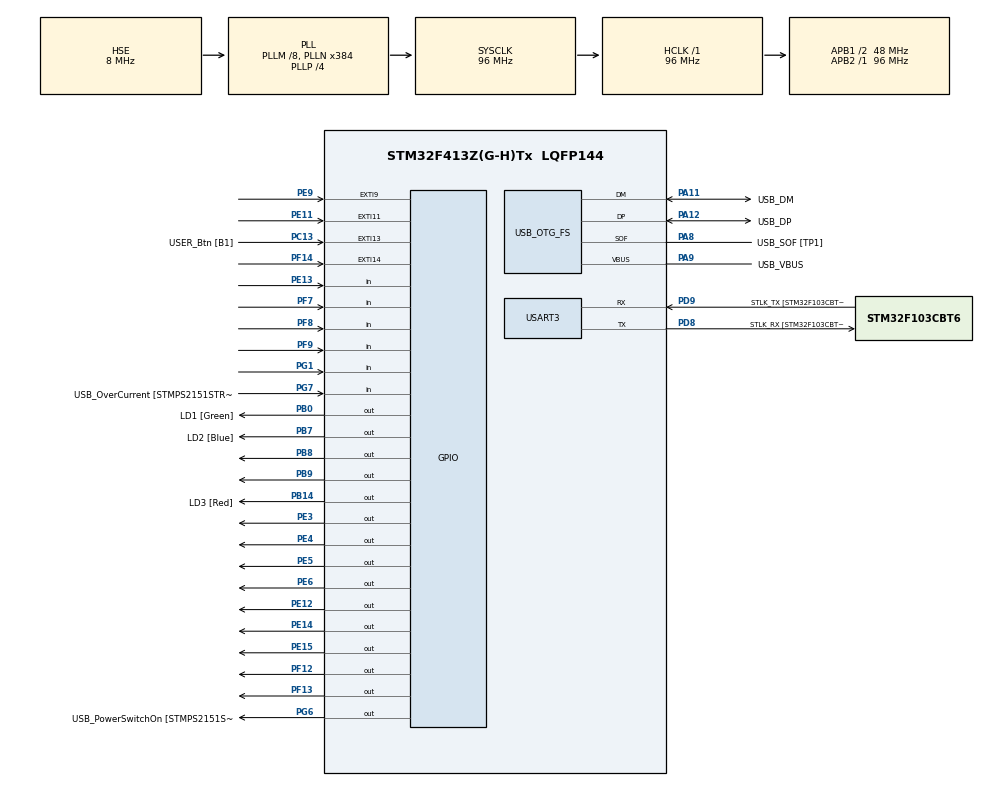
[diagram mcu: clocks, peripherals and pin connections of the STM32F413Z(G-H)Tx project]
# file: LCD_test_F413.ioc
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Mcu.Family=STM32F4
Mcu.Name=STM32F413Z(G-H)Tx
Mcu.Package=LQFP144
NVIC.EXTI15_10_IRQn=true\:0\:0\:false\:false\:true\:true\:true\:true
NVIC.EXTI9_5_IRQn=true\:0\:0\:false\:false\:true\:true\:true\:true
NVIC.PVD_IRQn=true\:0\:0\:false\:false\:true\:true\:true\:true
NVIC.PriorityGroup=NVIC_PRIORITYGROUP_4
PA10.GPIO_Label=USB_ID
PA10.Signal=USB_OTG_FS_ID
PA11.GPIO_Label=USB_DM
PA11.Mode=Device_Only
PA11.Signal=USB_OTG_FS_DM
PA12.GPIO_Label=USB_DP
PA12.Mode=Device_Only
PA12.Signal=USB_OTG_FS_DP
PA13.GPIO_Label=TMS
PA13.Mode=Serial_Wire
PA13.Signal=SYS_JTMS-SWDIO
PA14.GPIO_Label=TCK
PA14.Mode=Serial_Wire
PA14.Signal=SYS_JTCK-SWCLK
PA8.GPIO_Label=USB_SOF [TP1]
PA8.Mode=Activate_SOF_FS
PA8.Signal=USB_OTG_FS_SOF
PA9.GPIO_Label=USB_VBUS
PA9.Mode=Activate_VBUS
PA9.Signal=USB_OTG_FS_VBUS
PB0.GPIO_Label=LD1 [Green]
PB0.Signal=GPIO_Output
PB14.GPIO_Label=LD3 [Red]
PB14.Signal=GPIO_Output
PB3.GPIO_Label=SWO
PB3.Signal=SYS_JTDO-SWO
PB7.GPIO_Label=LD2 [Blue]
PB7.Signal=GPIO_Output
PB8.Signal=GPIO_Output
PB9.Signal=GPIO_Output
PC13.GPIO_Label=USER_Btn [B1]
PC13.Signal=GPXTI13
PC14-OSC32_IN.Mode=LSE-External-Oscillator
PC14-OSC32_IN.Signal=RCC_OSC32_IN
PC15-OSC32_OUT.Mode=LSE-External-Oscillator
PC15-OSC32_OUT.Signal=RCC_OSC32_OUT
PD8.GPIO_Label=STLK_RX [STM32F103CBT6_PA3]
PD8.Mode=Asynchronous
PD8.Signal=USART3_TX
PD9.GPIO_Label=STLK_TX [STM32F103CBT6_PA2]
PD9.Mode=Asynchronous
PD9.Signal=USART3_RX
PE11.Signal=GPXTI11
PE12.Signal=GPIO_Output
PE13.Signal=GPIO_Input
PE14.Signal=GPIO_Output
PE15.Signal=GPIO_Output
PE3.Signal=GPIO_Output
PE4.Signal=GPIO_Output
PE5.Signal=GPIO_Output
PE6.Signal=GPIO_Output
PE9.Signal=GPXTI9
PF12.Signal=GPIO_Output
PF13.Signal=GPIO_Output
PF14.Signal=GPXTI14
PF7.GPIO_PuPd=GPIO_PULLUP
PF7.Signal=GPIO_Input
PF8.GPIO_PuPd=GPIO_PULLUP
PF8.Signal=GPIO_Input
PF9.GPIO_PuPd=GPIO_PULLUP
PF9.Signal=GPIO_Input
PG1.GPIO_PuPd=GPIO_PULLUP
PG1.Signal=GPIO_Input
PG6.GPIO_Label=USB_PowerSwitchOn [STMPS2151STR_EN]
PG6.Signal=GPIO_Output
PG7.GPIO_Label=USB_OverCurrent [STMPS2151STR_FAULT]
PG7.Signal=GPIO_Input
PH0\ -\ OSC_IN.GPIO_Label=MCO
PH0\ -\ OSC_IN.Mode=HSE-External-Clock-Source
PH0\ -\ OSC_IN.Signal=RCC_OSC_IN
PH1\ -\ OSC_OUT.Mode=HSE-External-Clock-Source
PH1\ -\ OSC_OUT.Signal=RCC_OSC_OUT
ProjectManager.HeapSize=0x200
ProjectManager.StackSize=0x400
ProjectManager.TargetToolchain=STM32CubeIDE
RCC.48MHZClocksFreq_Value=24000000
RCC.AHBFreq_Value=96000000
RCC.APB1CLKDivider=RCC_HCLK_DIV2
RCC.APB1Freq_Value=48000000
RCC.APB1TimFreq_Value=96000000
RCC.APB2Freq_Value=96000000
RCC.APB2TimFreq_Value=96000000
RCC.CortexFreq_Value=96000000
RCC.HCLKFreq_Value=96000000
RCC.HSE_VALUE=8000000
RCC.HSI_VALUE=16000000
RCC.PLLM=8
RCC.PLLMUL=RCC_PLL_MUL9
RCC.PLLN=384
RCC.PLLP=RCC_PLLP_DIV4
RCC.PLLQ=8
RCC.PRESCALERUSB=RCC_USBCLKSOURCE_PLL_DIV1_5
RCC.SYSCLKFreq_VALUE=96000000
RCC.SYSCLKSource=RCC_SYSCLKSOURCE_PLLCLK
RCC.SYSCLKSourceVirtual=RCC_SYSCLKSOURCE_PLLCLK
RCC.USBFreq_Value=48000000
RCC.VCOOutputFreq_Value=384000000
USART3.VirtualMode=VM_ASYNC
USB_OTG_FS.VirtualMode=Device_Only
board=NUCLEO-F413ZH

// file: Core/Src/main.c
/* USER CODE BEGIN Header */
/**
  ******************************************************************************
  * @file           : main.c
  * @brief          : Main program body
  ******************************************************************************
  * @attention
  *
  * Copyright (c) 2024 STMicroelectronics.
  * All rights reserved.
  *
  * This software is licensed under terms that can be found in the LICENSE file
  * in the root directory of this software component.
  * If no LICENSE file comes with this software, it is provided AS-IS.
  *
  ******************************************************************************
  */
/* USER CODE END Header */
#include "main.h"

/* USER CODE BEGIN Includes */
#include "u8g2.h"
#include "application.h"
/* USER CODE END Includes */

/* USER CODE BEGIN PD */

#define SCK_GPIO_Port 		GPIOE
#define SCK_Pin 			GPIO_PIN_12

#define MOSI_GPIO_Port 		GPIOE
#define MOSI_Pin 			GPIO_PIN_14

#define LCD_CS_GPIO_Port 	GPIOF
#define LCD_CS_Pin 			GPIO_PIN_12

#define LCD_RESET_GPIO_Port GPIOE
#define LCD_RESET_Pin 		GPIO_PIN_15

#define CD_LCD_PORT 		GPIOF
#define CD_LCD_PIN 			GPIO_PIN_13

#define I2C_SCL_PORT 		GPIOB
#define I2C_SCL_PIN 		GPIO_PIN_8

#define I2C_SDA_PORT 		GPIOB
#define I2C_SDA_PIN 		GPIO_PIN_9

/* USER CODE END PD */

UART_HandleTypeDef huart3;

PCD_HandleTypeDef hpcd_USB_OTG_FS;

void SystemClock_Config(void);
static void MX_GPIO_Init(void);
static void MX_USART3_UART_Init(void);
static void MX_USB_OTG_FS_PCD_Init(void);

/* USER CODE BEGIN 0 */
uint8_t gpio_and_delay_cb(u8x8_t *u8x8, uint8_t msg, uint8_t arg_int, void *arg_ptr)
{
	switch(msg){
			//Initialize SPI peripheral
			case U8X8_MSG_GPIO_AND_DELAY_INIT:
				/* HAL initialization contains all what we need so we can skip this part. */

			break;

			case U8X8_MSG_DELAY_I2C:
				//for (uint16_t n = 0; n < 90; n++)
				//for (uint16_t n = 0; n < 2; n++)
				//{
					__NOP();
				//}

				break;
			case U8X8_MSG_GPIO_I2C_CLOCK:
				if (arg_int) HAL_GPIO_WritePin(I2C_SCL_PORT, I2C_SCL_PIN, SET);
					else HAL_GPIO_WritePin(I2C_SCL_PORT, I2C_SCL_PIN, RESET);
				break;
			case U8X8_MSG_GPIO_I2C_DATA:
				if (arg_int) HAL_GPIO_WritePin(I2C_SDA_PORT, I2C_SDA_PIN, SET);
					else HAL_GPIO_WritePin(I2C_SDA_PORT, I2C_SDA_PIN, RESET);
				break;
			//Function which implements a delay, arg_int contains the amount of ms
			case U8X8_MSG_DELAY_MILLI:
			HAL_Delay(arg_int);

			break;
			//Function which delays 10us
			case U8X8_MSG_DELAY_10MICRO:
			for (uint16_t n = 0; n < 90; n++)
			{
				__NOP();
			}
			break;
			//Function which delays 1ns
			case U8X8_MSG_DELAY_NANO:

			break;
			//Function which delays 100ns
			case U8X8_MSG_DELAY_100NANO:
			__NOP();

			break;
			//Function to define the logic level of the clockline
			case U8X8_MSG_GPIO_SPI_CLOCK:
				if (arg_int) HAL_GPIO_WritePin(SCK_GPIO_Port, SCK_Pin, RESET);
				else HAL_GPIO_WritePin(SCK_GPIO_Port, SCK_Pin, SET);

			break;
			//Function to define the logic level of the data line to the display
			case U8X8_MSG_GPIO_SPI_DATA:
				if (arg_int) HAL_GPIO_WritePin(MOSI_GPIO_Port, MOSI_Pin, SET);
				else HAL_GPIO_WritePin(MOSI_GPIO_Port, MOSI_Pin, RESET);

			break;
			// Function to define the logic level of the CS line
			case U8X8_MSG_GPIO_CS:
				if (arg_int) HAL_GPIO_WritePin(LCD_CS_GPIO_Port, LCD_CS_Pin, RESET);
				else HAL_GPIO_WritePin(LCD_CS_GPIO_Port, LCD_CS_Pin, SET);

			break;
			//Function to define the logic level of the Data/ Command line
			case U8X8_MSG_GPIO_DC:
				if (arg_int) HAL_GPIO_WritePin(CD_LCD_PORT, CD_LCD_PIN, SET);
				else HAL_GPIO_WritePin(CD_LCD_PORT, CD_LCD_PIN, RESET);

			break;
			//Function to define the logic level of the RESET line
			case U8X8_MSG_GPIO_RESET:
				if (arg_int) HAL_GPIO_WritePin(LCD_RESET_GPIO_Port, LCD_RESET_Pin, SET);
				else HAL_GPIO_WritePin(LCD_RESET_GPIO_Port, LCD_RESET_Pin, RESET);

			break;
			default:
				return 0; //A message was received which is not implemented, return 0 to indicate an error
		}

		return 1; // command processed successfully.
}

u8g2_t u8g2;

/* USER CODE END 0 */

int main(void)
{

  /* MCU Configuration--------------------------------------------------------*/

  /* Reset of all peripherals, Initializes the Flash interface and the Systick. */
  HAL_Init();

  /* Configure the system clock */
  SystemClock_Config();

  /* Initialize all configured peripherals */
  MX_GPIO_Init();
  MX_USART3_UART_Init();
  MX_USB_OTG_FS_PCD_Init();
  /* USER CODE BEGIN 2 */

  u8g2_Setup_ssd1306_i2c_128x64_noname_f(&u8g2, U8G2_R0, u8x8_byte_sw_i2c, gpio_and_delay_cb);

  //u8g2_Setup_st7565_ea_dogm128_f(&u8g2, U8G2_R0, u8x8_byte_4wire_sw_spi, &gpio_and_delay_cb);
  //u8g2_Setup_st7565_lm6063_f(&u8g2, U8G2_R0, u8x8_byte_4wire_sw_spi, &gpio_and_delay_cb);
  //u8g2_Setup_st7565_64128n_f(&u8g2, U8G2_R0, u8x8_byte_4wire_sw_spi, &gpio_and_delay_cb);
  //u8g2_Setup_st7565_zolen_128x64_f(&u8g2, U8G2_R0, u8x8_byte_4wire_sw_spi, &gpio_and_delay_cb);
  //u8g2_Setup_st7565_lm6059_f(&u8g2, U8G2_R0, u8x8_byte_4wire_sw_spi, &gpio_and_delay_cb);
  //u8g2_Setup_st7565_lx12864_f(&u8g2, U8G2_R0, u8x8_byte_4wire_sw_spi, &gpio_and_delay_cb);
  //u8g2_Setup_st7565_erc12864_f(&u8g2, U8G2_R0, u8x8_byte_4wire_sw_spi, &gpio_and_delay_cb);
  //u8g2_Setup_st7565_erc12864_alt_f(&u8g2, U8G2_R0, u8x8_byte_4wire_sw_spi, &gpio_and_delay_cb);
  //u8g2_Setup_st7565_nhd_c12864_f(&u8g2, U8G2_R0, u8x8_byte_4wire_sw_spi, &gpio_and_delay_cb);
  //u8g2_Setup_st7565_jlx12864_f(&u8g2, U8G2_R0, u8x8_byte_4wire_sw_spi, &gpio_and_delay_cb);

  u8g2_InitDisplay(&u8g2); // send init sequence to the display, display is in sleep mode after this,
  u8g2_SetPowerSave(&u8g2, 0); // wake up display

  HAL_GPIO_WritePin(LCD_RESET_GPIO_Port, LCD_RESET_Pin, RESET);
  HAL_Delay(100);
  HAL_GPIO_WritePin(LCD_RESET_GPIO_Port, LCD_RESET_Pin, SET);
  HAL_Delay(200);

  //app_run();

  //u8g2_ClearBuffer(&u8g2);
  //u8g2_DrawUTF8(&u8g2, 0, 40, "Hello world!");
  //u8g2_SendBuffer(&u8g2);

  /* USER CODE END 2 */

  /* Infinite loop */
  /* USER CODE BEGIN WHILE */
  while (1)
  {
	  HAL_GPIO_WritePin(GPIOB, LD1_Pin, SET);

	  HAL_GPIO_WritePin(GPIOB, LD1_Pin, RESET);

	  HAL_GPIO_WritePin(GPIOB, LD2_Pin, SET);

	  HAL_Delay(2000);

	  HAL_GPIO_WritePin(GPIOB, LD2_Pin, RESET);

	  app_run();

	  //HAL_GPIO_WritePin(MOSI_GPIO_Port, MOSI_Pin, SET);
	  //HAL_GPIO_WritePin(MOSI_GPIO_Port, MOSI_Pin, RESET);

    /* USER CODE END WHILE */

  }
}

void SystemClock_Config(void)
{
  RCC_OscInitTypeDef RCC_OscInitStruct = {0};
  RCC_ClkInitTypeDef RCC_ClkInitStruct = {0};

  /** Configure the main internal regulator output voltage
  */
  __HAL_RCC_PWR_CLK_ENABLE();
  __HAL_PWR_VOLTAGESCALING_CONFIG(PWR_REGULATOR_VOLTAGE_SCALE1);

  /** Initializes the RCC Oscillators according to the specified parameters
  * in the RCC_OscInitTypeDef structure.
  */
  RCC_OscInitStruct.OscillatorType = RCC_OSCILLATORTYPE_HSE;
  RCC_OscInitStruct.HSEState = RCC_HSE_BYPASS;
  RCC_OscInitStruct.PLL.PLLState = RCC_PLL_ON;
  RCC_OscInitStruct.PLL.PLLSource = RCC_PLLSOURCE_HSE;
  RCC_OscInitStruct.PLL.PLLM = 8;
  RCC_OscInitStruct.PLL.PLLN = 384;
  RCC_OscInitStruct.PLL.PLLP = RCC_PLLP_DIV4;
  RCC_OscInitStruct.PLL.PLLQ = 8;
  RCC_OscInitStruct.PLL.PLLR = 2;
  if (HAL_RCC_OscConfig(&RCC_OscInitStruct) != HAL_OK)
  {
    Error_Handler();
  }

  /** Initializes the CPU, AHB and APB buses clocks
  */
  RCC_ClkInitStruct.ClockType = RCC_CLOCKTYPE_HCLK|RCC_CLOCKTYPE_SYSCLK
                              |RCC_CLOCKTYPE_PCLK1|RCC_CLOCKTYPE_PCLK2;
  RCC_ClkInitStruct.SYSCLKSource = RCC_SYSCLKSOURCE_PLLCLK;
  RCC_ClkInitStruct.AHBCLKDivider = RCC_SYSCLK_DIV1;
  RCC_ClkInitStruct.APB1CLKDivider = RCC_HCLK_DIV2;
  RCC_ClkInitStruct.APB2CLKDivider = RCC_HCLK_DIV1;

  if (HAL_RCC_ClockConfig(&RCC_ClkInitStruct, FLASH_LATENCY_3) != HAL_OK)
  {
    Error_Handler();
  }
}

static void MX_USART3_UART_Init(void)
{

  huart3.Instance = USART3;
  huart3.Init.BaudRate = 115200;
  huart3.Init.WordLength = UART_WORDLENGTH_8B;
  huart3.Init.StopBits = UART_STOPBITS_1;
  huart3.Init.Parity = UART_PARITY_NONE;
  huart3.Init.Mode = UART_MODE_TX_RX;
  huart3.Init.HwFlowCtl = UART_HWCONTROL_NONE;
  huart3.Init.OverSampling = UART_OVERSAMPLING_16;
  if (HAL_UART_Init(&huart3) != HAL_OK)
  {
    Error_Handler();
  }

}

static void MX_USB_OTG_FS_PCD_Init(void)
{

  hpcd_USB_OTG_FS.Instance = USB_OTG_FS;
  hpcd_USB_OTG_FS.Init.dev_endpoints = 6;
  hpcd_USB_OTG_FS.Init.speed = PCD_SPEED_FULL;
  hpcd_USB_OTG_FS.Init.dma_enable = DISABLE;
  hpcd_USB_OTG_FS.Init.phy_itface = PCD_PHY_EMBEDDED;
  hpcd_USB_OTG_FS.Init.Sof_enable = ENABLE;
  hpcd_USB_OTG_FS.Init.low_power_enable = DISABLE;
  hpcd_USB_OTG_FS.Init.lpm_enable = DISABLE;
  hpcd_USB_OTG_FS.Init.battery_charging_enable = ENABLE;
  hpcd_USB_OTG_FS.Init.vbus_sensing_enable = ENABLE;
  hpcd_USB_OTG_FS.Init.use_dedicated_ep1 = DISABLE;
  if (HAL_PCD_Init(&hpcd_USB_OTG_FS) != HAL_OK)
  {
    Error_Handler();
  }

}

static void MX_GPIO_Init(void)
{
  GPIO_InitTypeDef GPIO_InitStruct = {0};

  /* GPIO Ports Clock Enable */
  __HAL_RCC_GPIOE_CLK_ENABLE();
  __HAL_RCC_GPIOC_CLK_ENABLE();
  __HAL_RCC_GPIOF_CLK_ENABLE();
  __HAL_RCC_GPIOH_CLK_ENABLE();
  __HAL_RCC_GPIOB_CLK_ENABLE();
  __HAL_RCC_GPIOG_CLK_ENABLE();
  __HAL_RCC_GPIOD_CLK_ENABLE();
  __HAL_RCC_GPIOA_CLK_ENABLE();

  /*Configure GPIO pin Output Level */
  HAL_GPIO_WritePin(GPIOE, GPIO_PIN_3|GPIO_PIN_4|GPIO_PIN_5|GPIO_PIN_6
                          |GPIO_PIN_12|GPIO_PIN_14|GPIO_PIN_15, GPIO_PIN_RESET);

  /*Configure GPIO pin Output Level */
  HAL_GPIO_WritePin(GPIOB, LD1_Pin|LD3_Pin|LD2_Pin|GPIO_PIN_8
                          |GPIO_PIN_9, GPIO_PIN_RESET);

  /*Configure GPIO pin Output Level */
  HAL_GPIO_WritePin(GPIOF, GPIO_PIN_12|GPIO_PIN_13, GPIO_PIN_RESET);

  /*Configure GPIO pin Output Level */
  HAL_GPIO_WritePin(USB_PowerSwitchOn_GPIO_Port, USB_PowerSwitchOn_Pin, GPIO_PIN_RESET);

  /*Configure GPIO pins : PE3 PE4 PE5 PE6
                           PE12 PE14 PE15 */
  GPIO_InitStruct.Pin = GPIO_PIN_3|GPIO_PIN_4|GPIO_PIN_5|GPIO_PIN_6
                          |GPIO_PIN_12|GPIO_PIN_14|GPIO_PIN_15;
  GPIO_InitStruct.Mode = GPIO_MODE_OUTPUT_PP;
  GPIO_InitStruct.Pull = GPIO_NOPULL;
  GPIO_InitStruct.Speed = GPIO_SPEED_FREQ_LOW;
  HAL_GPIO_Init(GPIOE, &GPIO_InitStruct);

  /*Configure GPIO pin : USER_Btn_Pin */
  GPIO_InitStruct.Pin = USER_Btn_Pin;
  GPIO_InitStruct.Mode = GPIO_MODE_IT_RISING;
  GPIO_InitStruct.Pull = GPIO_NOPULL;
  HAL_GPIO_Init(USER_Btn_GPIO_Port, &GPIO_InitStruct);

  /*Configure GPIO pins : PF7 PF8 PF9 */
  GPIO_InitStruct.Pin = GPIO_PIN_7|GPIO_PIN_8|GPIO_PIN_9;
  GPIO_InitStruct.Mode = GPIO_MODE_INPUT;
  GPIO_InitStruct.Pull = GPIO_PULLUP;
  HAL_GPIO_Init(GPIOF, &GPIO_InitStruct);

  /*Configure GPIO pins : LD1_Pin LD3_Pin LD2_Pin PB8
                           PB9 */
  GPIO_InitStruct.Pin = LD1_Pin|LD3_Pin|LD2_Pin|GPIO_PIN_8
                          |GPIO_PIN_9;
  GPIO_InitStruct.Mode = GPIO_MODE_OUTPUT_PP;
  GPIO_InitStruct.Pull = GPIO_NOPULL;
  GPIO_InitStruct.Speed = GPIO_SPEED_FREQ_LOW;
  HAL_GPIO_Init(GPIOB, &GPIO_InitStruct);

  /*Configure GPIO pins : PF12 PF13 */
  GPIO_InitStruct.Pin = GPIO_PIN_12|GPIO_PIN_13;
  GPIO_InitStruct.Mode = GPIO_MODE_OUTPUT_PP;
  GPIO_InitStruct.Pull = GPIO_NOPULL;
  GPIO_InitStruct.Speed = GPIO_SPEED_FREQ_LOW;
  HAL_GPIO_Init(GPIOF, &GPIO_InitStruct);

  /*Configure GPIO pin : PF14 */
  GPIO_InitStruct.Pin = GPIO_PIN_14;
  GPIO_InitStruct.Mode = GPIO_MODE_IT_RISING;
  GPIO_InitStruct.Pull = GPIO_NOPULL;
  HAL_GPIO_Init(GPIOF, &GPIO_InitStruct);

  /*Configure GPIO pin : PG1 */
  GPIO_InitStruct.Pin = GPIO_PIN_1;
  GPIO_InitStruct.Mode = GPIO_MODE_INPUT;
  GPIO_InitStruct.Pull = GPIO_PULLUP;
  HAL_GPIO_Init(GPIOG, &GPIO_InitStruct);

  /*Configure GPIO pins : PE9 PE11 */
  GPIO_InitStruct.Pin = GPIO_PIN_9|GPIO_PIN_11;
  GPIO_InitStruct.Mode = GPIO_MODE_IT_RISING;
  GPIO_InitStruct.Pull = GPIO_NOPULL;
  HAL_GPIO_Init(GPIOE, &GPIO_InitStruct);

  /*Configure GPIO pin : PE13 */
  GPIO_InitStruct.Pin = GPIO_PIN_13;
  GPIO_InitStruct.Mode = GPIO_MODE_INPUT;
  GPIO_InitStruct.Pull = GPIO_NOPULL;
  HAL_GPIO_Init(GPIOE, &GPIO_InitStruct);

  /*Configure GPIO pin : USB_PowerSwitchOn_Pin */
  GPIO_InitStruct.Pin = USB_PowerSwitchOn_Pin;
  GPIO_InitStruct.Mode = GPIO_MODE_OUTPUT_PP;
  GPIO_InitStruct.Pull = GPIO_NOPULL;
  GPIO_InitStruct.Speed = GPIO_SPEED_FREQ_LOW;
  HAL_GPIO_Init(USB_PowerSwitchOn_GPIO_Port, &GPIO_InitStruct);

  /*Configure GPIO pin : USB_OverCurrent_Pin */
  GPIO_InitStruct.Pin = USB_OverCurrent_Pin;
  GPIO_InitStruct.Mode = GPIO_MODE_INPUT;
  GPIO_InitStruct.Pull = GPIO_NOPULL;
  HAL_GPIO_Init(USB_OverCurrent_GPIO_Port, &GPIO_InitStruct);

  /* EXTI interrupt init*/
  HAL_NVIC_SetPriority(EXTI9_5_IRQn, 0, 0);
  HAL_NVIC_EnableIRQ(EXTI9_5_IRQn);

  HAL_NVIC_SetPriority(EXTI15_10_IRQn, 0, 0);
  HAL_NVIC_EnableIRQ(EXTI15_10_IRQn);

}

void Error_Handler(void)
{
  __disable_irq();
  while (1)
  {
  }
}
